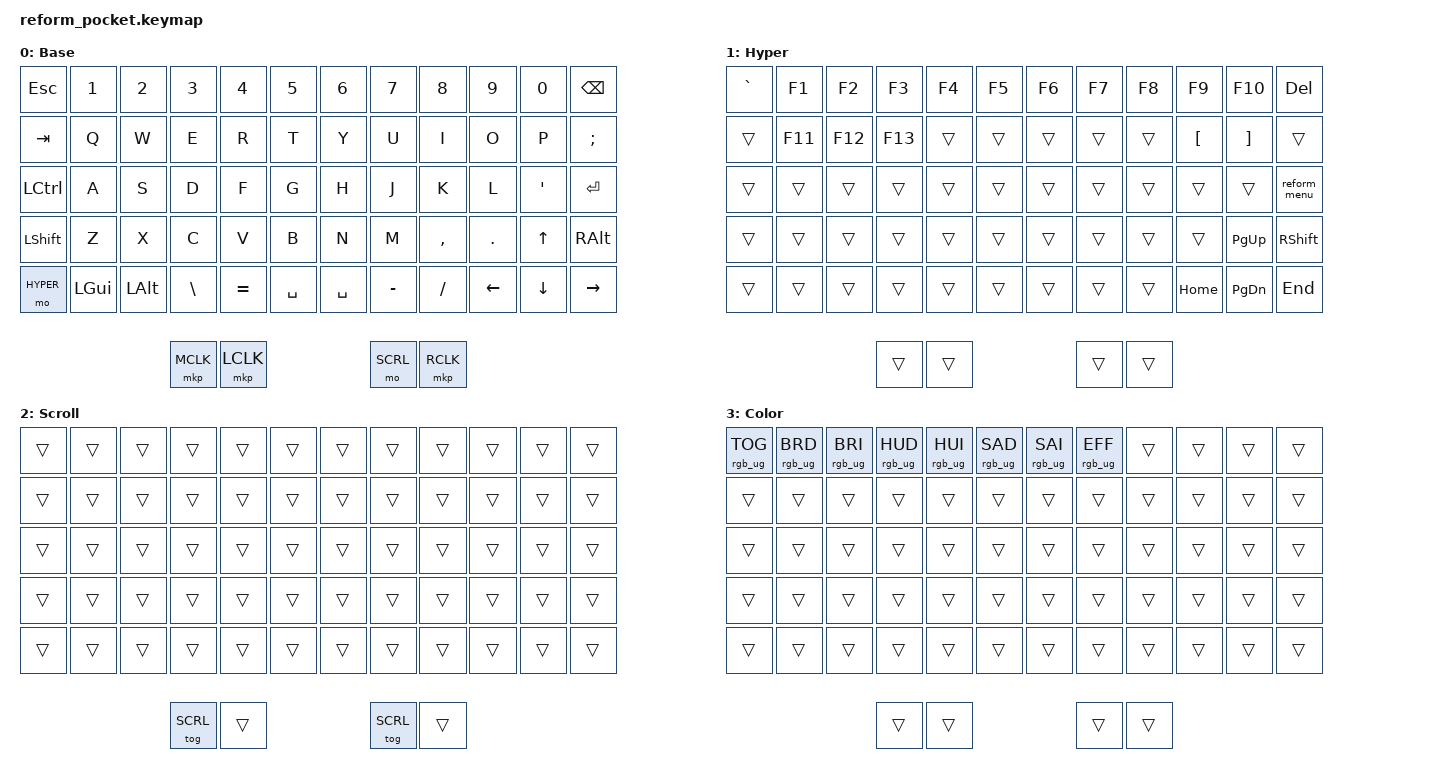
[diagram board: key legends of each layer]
/*
  SPDX-License-Identifier: GPL-3.0-or-later
  Copyright 2026 joguSD
*/

#include <behaviors.dtsi>
#if CONFIG_MNT_REFORM_MODE == 0 /* MNT_REFORM_MODE_STANDALONE */
#include <behaviors/reform_menu_standalone.dtsi>
#else
#include <behaviors/reform_menu.dtsi>
#endif
#include <behaviors/reform_sysctrl.dtsi>
#include <dt-bindings/zmk/keys.h>
#include <dt-bindings/zmk/mouse.h>
#include <dt-bindings/zmk/rgb.h>

#define BASE  0
#define HYPER 1
#define SCRL  2
#define COLOR 3

#define RGBTOG  &rgb_ug RGB_TOG
#define RGBHUI  &rgb_ug RGB_HUI
#define RGBHUD  &rgb_ug RGB_HUD
#define RGBSAI  &rgb_ug RGB_SAI
#define RGBSAD  &rgb_ug RGB_SAD
#define RGBBRI  &rgb_ug RGB_BRI
#define RGBBRD  &rgb_ug RGB_BRD
#define RGBEFF  &rgb_ug RGB_EFF


// ---------- Pocket Reform key switch positions ----------
//
// -------------------------------------------------------------------------------------
// |   0  |   1  |   2  |   3  |   4  |   5  |   6  |   7  |   8  |   9  |  10  |  11  |
// -------------------------------------------------------------------------------------
// |  12  |  13  |  14  |  15  |  16  |  17  |  18  |  19  |  20  |  21  |  22  |  23  |
// -------------------------------------------------------------------------------------
// |  24  |  25  |  26  |  27  |  28  |  29  |  30  |  31  |  32  |  33  |  34  |  35  |
// -------------------------------------------------------------------------------------
// |  36  |  37  |  38  |  39  |  40  |  41  |  42  |  43  |  44  |  45  |  46  |  47  |
// -------------------------------------------------------------------------------------
// |  48  |  49  |  50  |  51  |  52  |  53  |  54  |  55  |  56  |  57  |  58  |  59  |
// -------------------------------------------------------------------------------------
//                       |  60  |  61  |            |  62  |  63  |
//                       ------------------------------------------


/ {
    keymap {
        compatible = "zmk,keymap";

        base {
            // Layer 0 BASE
            // -------------------------------------------------------------------------------------
            // |  Esc |  1!  |  2@  |  3#  |  4$  |  5%  |  6^  |  7&  |  8*  |  9(  |  0)  | Bspc |
            // -------------------------------------------------------------------------------------
            // |  Tab |   Q  |   W  |   E  |   R  |   T  |   Y  |   U  |   I  |   O  |   P  |  ;:  |
            // -------------------------------------------------------------------------------------
            // | LCtrl|   A  |   S  |   D  |   F  |   G  |   H  |   J  |   K  |   L  |  '"  | Enter|
            // -------------------------------------------------------------------------------------
            // | LShft|   Z  |   X  |   C  |   V  |   B  |   N  |   M  |  ,<  |  .>  |  Up  | RAlt |
            // -------------------------------------------------------------------------------------
            // | Hyper| LGUI | LAlt |  \|  |  =+  | Space| Space|  -_  |  /?  | Left | Down | Right|
            // -------------------------------------------------------------------------------------
            //                      | MCl  | LCl  |             | Scrl | RCl  |
            // -------------------------------------------------------------------------------------
            display-name = "Base";
            bindings = <
                &kp ESC   &kp N1    &kp N2    &kp N3    &kp N4    &kp N5    &kp N6    &kp N7    &kp N8    &kp N9    &kp N0    &kp BSPC
                &kp TAB   &kp Q     &kp W     &kp E     &kp R     &kp T     &kp Y     &kp U     &kp I     &kp O     &kp P     &kp SEMI
                &kp LCTRL &kp A     &kp S     &kp D     &kp F     &kp G     &kp H     &kp J     &kp K     &kp L     &kp SQT   &kp ENTER
                &kp LSHFT &kp Z     &kp X     &kp C     &kp V     &kp B     &kp N     &kp M     &kp COMMA &kp DOT   &kp UP    &kp RALT
                &mo HYPER &kp LGUI  &kp LALT  &kp BSLH  &kp EQUAL &kp SPACE &kp SPACE &kp MINUS &kp FSLH  &kp LEFT  &kp DOWN  &kp RIGHT
                                              &mkp MCLK &mkp LCLK                     &mo SCRL  &mkp RCLK
            >;
        };

        hyper {
            // Layer 1 HYPER
            // -------------------------------------------------------------------------------------
            // |  `~  |  F1  |  F2  |  F3  |  F4  |  F5  |  F6  |  F7  |  F8  |  F9  | F10  |  Del |
            // -------------------------------------------------------------------------------------
            // | ---- | F11  | F12  | F13  | ---- | ---- | ---- | ---- | ---- |  [{  |  ]}  | ---- |
            // -------------------------------------------------------------------------------------
            // | ---- | ---- | ---- | ---- | ---- | ---- | ---- | ---- | ---- | ---- | ---- | Menu |
            // -------------------------------------------------------------------------------------
            // | ---- | ---- | ---- | ---- | ---- | ---- | ---- | ---- | ---- | ---- | PgUp | RShft|
            // -------------------------------------------------------------------------------------
            // | ---- | ---- | ---- | ---- | ---- | ---- | ---- | ---- | ---- | Home | PgDn |  End |
            // -------------------------------------------------------------------------------------
            //                      | ---- | ---- |             | ---- | ---- |
            // -------------------------------------------------------------------------------------
            display-name = "Hyper";
            bindings = <
                &kp GRAVE &kp F1    &kp F2    &kp F3    &kp F4    &kp F5    &kp F6    &kp F7    &kp F8    &kp F9    &kp F10   &kp DEL
                &trans    &kp F11   &kp F12   &kp F13   &trans    &trans    &trans    &trans    &trans    &kp LBKT  &kp RBKT  &trans
                &trans    &trans    &trans    &trans    &trans    &trans    &trans    &trans    &trans    &trans    &trans    &reform_menu
                &trans    &trans    &trans    &trans    &trans    &trans    &trans    &trans    &trans    &trans    &kp PG_UP &kp RSHFT
                &trans    &trans    &trans    &trans    &trans    &trans    &trans    &trans    &trans    &kp HOME  &kp PG_DN &kp END
                                              &trans    &trans                        &trans    &trans
            >;
        };

        scroll {
            // Layer 2 SCROLL
            display-name = "Scroll";
            bindings = <
                &trans    &trans    &trans    &trans    &trans    &trans    &trans    &trans    &trans    &trans    &trans    &trans
                &trans    &trans    &trans    &trans    &trans    &trans    &trans    &trans    &trans    &trans    &trans    &trans
                &trans    &trans    &trans    &trans    &trans    &trans    &trans    &trans    &trans    &trans    &trans    &trans
                &trans    &trans    &trans    &trans    &trans    &trans    &trans    &trans    &trans    &trans    &trans    &trans
                &trans    &trans    &trans    &trans    &trans    &trans    &trans    &trans    &trans    &trans    &trans    &trans
                                              &tog SCRL &trans                        &tog SCRL &trans
            >;
        };

        color {
            // Layer 3 COLOR
            display-name = "Color";
            bindings = <
                RGBTOG    RGBBRD    RGBBRI    RGBHUD    RGBHUI    RGBSAD    RGBSAI    RGBEFF    &trans    &trans    &trans    &trans
                &trans    &trans    &trans    &trans    &trans    &trans    &trans    &trans    &trans    &trans    &trans    &trans
                &trans    &trans    &trans    &trans    &trans    &trans    &trans    &trans    &trans    &trans    &trans    &trans
                &trans    &trans    &trans    &trans    &trans    &trans    &trans    &trans    &trans    &trans    &trans    &trans
                &trans    &trans    &trans    &trans    &trans    &trans    &trans    &trans    &trans    &trans    &trans    &trans
                                              &trans    &trans                        &trans    &trans
            >;
        };
    };

    conditional_layers {
        compatible = "zmk,conditional-layers";

        hyper_scroll {
            if-layers = <HYPER SCRL>;
            then-layer = <COLOR>;
        };
    };
};
